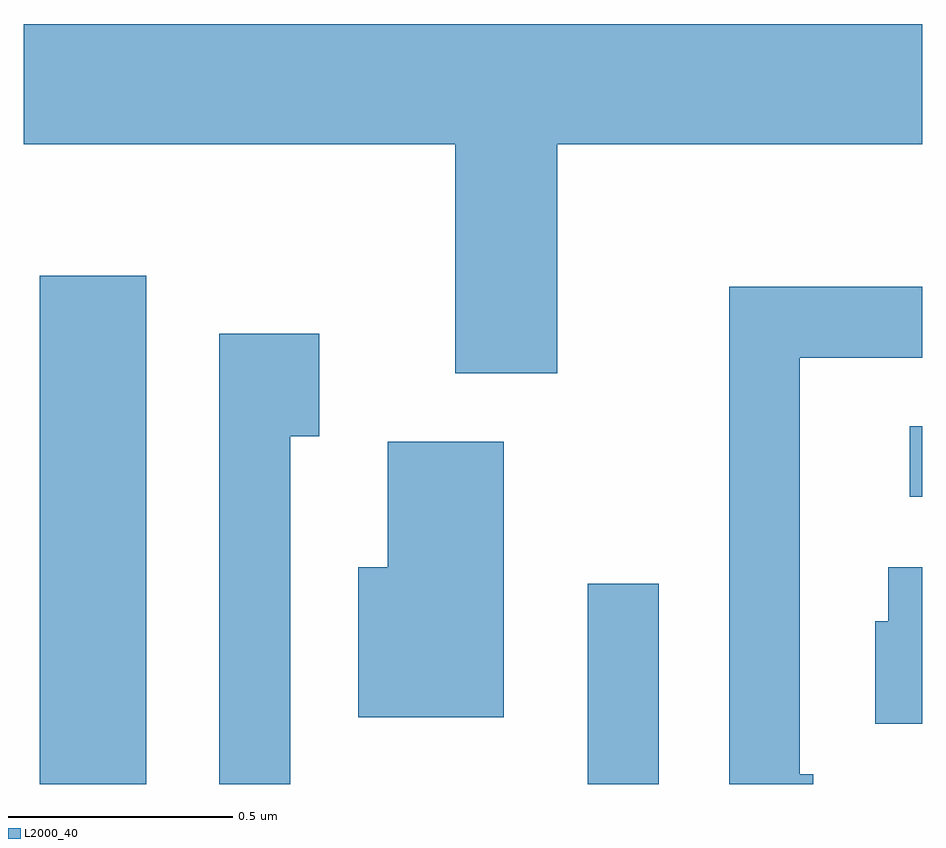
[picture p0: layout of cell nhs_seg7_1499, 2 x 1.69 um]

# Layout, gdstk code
import gdstk
lib = gdstk.Library(unit=1e-6, precision=1e-09)
def R(c, l, rs):  # rectangles x0, y0, x1, y1
    for r in rs: c.add(gdstk.rectangle(r[:2], r[2:], *l))
def P(c, l, *ps):  # polygons
    for p in ps: c.add(gdstk.Polygon(p, *l))
L2000_40 = (2000, 40)

nhs_seg7_1499 = lib.new_cell('nhs_seg7_1499')
R(nhs_seg7_1499, L2000_40, [(195.646,1797.252,195.884,1798.384), (196.866,1797.252,197.024,1797.698), (197.583,1797.891,197.611,1798.049)])
P(nhs_seg7_1499, L2000_40, [(196.799,1798.676),(197.611,1798.676),(197.611,1798.944),(195.611,1798.944),(195.611,1798.676),(196.571,1798.676),(196.571,1798.166),(196.799,1798.166)],
  [(197.369,1797.274),(197.339,1797.274),(197.339,1798.201),(197.611,1798.201),(197.611,1798.359),(197.181,1798.359),(197.181,1797.252),(197.369,1797.252)],
  [(196.204,1798.026),(196.269,1798.026),(196.269,1798.254),(196.046,1798.254),(196.046,1797.252),(196.204,1797.252)],
  [(196.679,1798.014),(196.421,1798.014),(196.421,1797.734),(196.356,1797.734),(196.356,1797.401),(196.679,1797.401)],
  [(197.611,1797.734),(197.536,1797.734),(197.536,1797.614),(197.506,1797.614),(197.506,1797.386),(197.611,1797.386)])

lib.write_gds('nhs_seg7_1499.gds')
